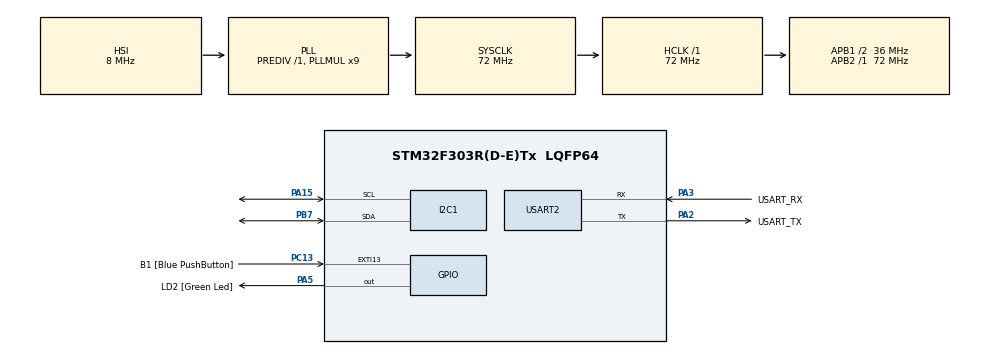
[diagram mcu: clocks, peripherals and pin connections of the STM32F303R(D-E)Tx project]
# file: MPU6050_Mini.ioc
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I2C1.Timing=0x00201D2B
Mcu.Family=STM32F3
Mcu.Name=STM32F303R(D-E)Tx
Mcu.Package=LQFP64
NVIC.PriorityGroup=NVIC_PRIORITYGROUP_0
PA13.GPIO_Label=TMS
PA13.Mode=Serial_Wire
PA13.Signal=SYS_JTMS-SWDIO
PA14.GPIO_Label=TCK
PA14.Mode=Serial_Wire
PA14.Signal=SYS_JTCK-SWCLK
PA15.Mode=I2C
PA15.Signal=I2C1_SCL
PA2.GPIO_Label=USART_TX
PA2.GPIO_Mode=GPIO_MODE_AF_PP
PA2.GPIO_PuPd=GPIO_NOPULL
PA2.GPIO_Speed=GPIO_SPEED_FREQ_LOW
PA2.Mode=Asynchronous
PA2.Signal=USART2_TX
PA3.GPIO_Label=USART_RX
PA3.GPIO_Mode=GPIO_MODE_AF_PP
PA3.GPIO_PuPd=GPIO_NOPULL
PA3.GPIO_Speed=GPIO_SPEED_FREQ_LOW
PA3.Mode=Asynchronous
PA3.Signal=USART2_RX
PA5.GPIO_Label=LD2 [Green Led]
PA5.GPIO_Mode=GPIO_MODE_OUTPUT_PP
PA5.GPIO_PuPd=GPIO_NOPULL
PA5.GPIO_Speed=GPIO_SPEED_FREQ_LOW
PA5.Signal=GPIO_Output
PB3.GPIO_Label=SWO
PB3.Signal=SYS_JTDO-TRACESWO
PB7.Mode=I2C
PB7.Signal=I2C1_SDA
PC13.GPIO_Label=B1 [Blue PushButton]
PC13.GPIO_ModeDefaultEXTI=GPIO_MODE_IT_FALLING
PC13.Signal=GPXTI13
PC14-OSC32_IN.Mode=LSE-External-Oscillator
PC14-OSC32_IN.Signal=RCC_OSC32_IN
PC15-OSC32_OUT.Mode=LSE-External-Oscillator
PC15-OSC32_OUT.Signal=RCC_OSC32_OUT
PF0-OSC_IN.Mode=HSE-External-Clock-Source
PF0-OSC_IN.Signal=RCC_OSC_IN
PF1-OSC_OUT.Signal=RCC_OSC_OUT
ProjectManager.HeapSize=0x200
ProjectManager.StackSize=0x400
ProjectManager.TargetToolchain=STM32CubeIDE
RCC.AHBFreq_Value=72000000
RCC.APB1CLKDivider=RCC_HCLK_DIV2
RCC.APB1Freq_Value=36000000
RCC.APB1TimFreq_Value=72000000
RCC.APB2Freq_Value=72000000
RCC.APB2TimFreq_Value=72000000
RCC.CortexFreq_Value=72000000
RCC.HCLKFreq_Value=72000000
RCC.HSE_VALUE=8000000
RCC.HSI_VALUE=8000000
RCC.PLLM=8
RCC.PLLMUL=RCC_PLL_MUL9
RCC.PLLN=336
RCC.PLLP=RCC_PLLP_DIV4
RCC.PLLQ=7
RCC.RCC_PLLsource_Clock_Source_FROM_HSE=RCC_HSE_PREDIV_DIV2
RCC.SYSCLKFreq_VALUE=72000000
RCC.SYSCLKSourceVirtual=RCC_SYSCLKSOURCE_PLLCLK
RCC.USBFreq_Value=72000000
USART2.VirtualMode-Asynchronous=VM_ASYNC
board=NUCLEO-F303RE

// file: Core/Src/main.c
/* USER CODE BEGIN Header */
/**
  ******************************************************************************
  * @file           : main.c
  * @brief          : Main program body
  ******************************************************************************
  * @attention
  *
  * Copyright (c) 2025 STMicroelectronics.
  * All rights reserved.
  *
  * This software is licensed under terms that can be found in the LICENSE file
  * in the root directory of this software component.
  * If no LICENSE file comes with this software, it is provided AS-IS.
  *
  ******************************************************************************
  */
/* USER CODE END Header */
#include "main.h"
#include "MPU6050.h"

/* USER CODE BEGIN PD */
#define MPU6050_ADDR (uint16_t)0x68

/* USER CODE END PD */

I2C_HandleTypeDef hi2c1;

UART_HandleTypeDef huart2;

/* USER CODE BEGIN PV */
float accel_buf[3];

float x_accel;
float y_accel;
float z_accel;

float x_vel;
float y_vel;
float z_vel;

float x_pos;
float y_pos;
float z_pos;

float dt;

/* USER CODE END PV */

void SystemClock_Config(void);
static void MX_GPIO_Init(void);
static void MX_I2C1_Init(void);
static void MX_USART2_UART_Init(void);

int main(void)
{

  /* USER CODE BEGIN 1 */
  HAL_StatusTypeDef ret;
  /* USER CODE END 1 */

  /* MCU Configuration--------------------------------------------------------*/

  /* Reset of all peripherals, Initializes the Flash interface and the Systick. */
  HAL_Init();

  /* Configure the system clock */
  SystemClock_Config();

  /* Initialize all configured peripherals */
  MX_GPIO_Init();
  MX_I2C1_Init();
  MX_USART2_UART_Init();
  /* USER CODE BEGIN 2 */

  //Hang while MPU6050 doesn't respond with HAL_OK
  while(ret != HAL_OK){
	  ret = MPU6050_init(&hi2c1, (MPU6050_ADDR<<1));
  }

  uint32_t currentTime = HAL_GetTick();
  uint32_t lastTime = HAL_GetTick();

  /* USER CODE END 2 */

  /* Infinite loop */
  /* USER CODE BEGIN WHILE */
  while (1)
  {

	 ret = MPU6050_getAccel(&hi2c1, (MPU6050_ADDR << 1), &accel_buf); //Read accelerations

	 if(ret == HAL_OK){
		 currentTime = HAL_GetTick();
		 dt = 0.001f*(currentTime - lastTime);

		 x_accel = accel_buf[0]; //Acceleration in g
		 y_accel = accel_buf[1];
		 z_accel = accel_buf[2] - .981; //Subtract gravity, assuming +z is aligned with g

		 x_vel = x_vel+(x_accel*9.81)*(dt); //Velocity in m/s
		 y_vel = y_vel+(y_accel*9.81)*(dt);
		 z_vel = z_vel+(z_accel*9.81)*(dt);

		 x_pos =  x_pos+(x_vel)*(dt); //Velocity in m/s
		 y_pos =  y_pos+(y_vel)*(dt);
		 z_pos =  z_pos+(z_vel)*(dt);

		 lastTime = HAL_GetTick();
	 }

 	 HAL_Delay(2);
    /* USER CODE END WHILE */

  }
}

void SystemClock_Config(void)
{
  RCC_OscInitTypeDef RCC_OscInitStruct = {0};
  RCC_ClkInitTypeDef RCC_ClkInitStruct = {0};
  RCC_PeriphCLKInitTypeDef PeriphClkInit = {0};

  /** Initializes the RCC Oscillators according to the specified parameters
  * in the RCC_OscInitTypeDef structure.
  */
  RCC_OscInitStruct.OscillatorType = RCC_OSCILLATORTYPE_HSI;
  RCC_OscInitStruct.HSIState = RCC_HSI_ON;
  RCC_OscInitStruct.HSICalibrationValue = RCC_HSICALIBRATION_DEFAULT;
  RCC_OscInitStruct.PLL.PLLState = RCC_PLL_ON;
  RCC_OscInitStruct.PLL.PLLSource = RCC_PLLSOURCE_HSI;
  RCC_OscInitStruct.PLL.PLLMUL = RCC_PLL_MUL9;
  RCC_OscInitStruct.PLL.PREDIV = RCC_PREDIV_DIV1;
  if (HAL_RCC_OscConfig(&RCC_OscInitStruct) != HAL_OK)
  {
    Error_Handler();
  }

  /** Initializes the CPU, AHB and APB buses clocks
  */
  RCC_ClkInitStruct.ClockType = RCC_CLOCKTYPE_HCLK|RCC_CLOCKTYPE_SYSCLK
                              |RCC_CLOCKTYPE_PCLK1|RCC_CLOCKTYPE_PCLK2;
  RCC_ClkInitStruct.SYSCLKSource = RCC_SYSCLKSOURCE_PLLCLK;
  RCC_ClkInitStruct.AHBCLKDivider = RCC_SYSCLK_DIV1;
  RCC_ClkInitStruct.APB1CLKDivider = RCC_HCLK_DIV2;
  RCC_ClkInitStruct.APB2CLKDivider = RCC_HCLK_DIV1;

  if (HAL_RCC_ClockConfig(&RCC_ClkInitStruct, FLASH_LATENCY_2) != HAL_OK)
  {
    Error_Handler();
  }
  PeriphClkInit.PeriphClockSelection = RCC_PERIPHCLK_USART2|RCC_PERIPHCLK_I2C1;
  PeriphClkInit.Usart2ClockSelection = RCC_USART2CLKSOURCE_PCLK1;
  PeriphClkInit.I2c1ClockSelection = RCC_I2C1CLKSOURCE_HSI;
  if (HAL_RCCEx_PeriphCLKConfig(&PeriphClkInit) != HAL_OK)
  {
    Error_Handler();
  }
}

static void MX_I2C1_Init(void)
{

  hi2c1.Instance = I2C1;
  hi2c1.Init.Timing = 0x00201D2B;
  hi2c1.Init.OwnAddress1 = 0;
  hi2c1.Init.AddressingMode = I2C_ADDRESSINGMODE_7BIT;
  hi2c1.Init.DualAddressMode = I2C_DUALADDRESS_DISABLE;
  hi2c1.Init.OwnAddress2 = 0;
  hi2c1.Init.OwnAddress2Masks = I2C_OA2_NOMASK;
  hi2c1.Init.GeneralCallMode = I2C_GENERALCALL_DISABLE;
  hi2c1.Init.NoStretchMode = I2C_NOSTRETCH_DISABLE;
  if (HAL_I2C_Init(&hi2c1) != HAL_OK)
  {
    Error_Handler();
  }

  /** Configure Analogue filter
  */
  if (HAL_I2CEx_ConfigAnalogFilter(&hi2c1, I2C_ANALOGFILTER_ENABLE) != HAL_OK)
  {
    Error_Handler();
  }

  /** Configure Digital filter
  */
  if (HAL_I2CEx_ConfigDigitalFilter(&hi2c1, 0) != HAL_OK)
  {
    Error_Handler();
  }

}

static void MX_USART2_UART_Init(void)
{

  huart2.Instance = USART2;
  huart2.Init.BaudRate = 38400;
  huart2.Init.WordLength = UART_WORDLENGTH_8B;
  huart2.Init.StopBits = UART_STOPBITS_1;
  huart2.Init.Parity = UART_PARITY_NONE;
  huart2.Init.Mode = UART_MODE_TX_RX;
  huart2.Init.HwFlowCtl = UART_HWCONTROL_NONE;
  huart2.Init.OverSampling = UART_OVERSAMPLING_16;
  huart2.Init.OneBitSampling = UART_ONE_BIT_SAMPLE_DISABLE;
  huart2.AdvancedInit.AdvFeatureInit = UART_ADVFEATURE_NO_INIT;
  if (HAL_UART_Init(&huart2) != HAL_OK)
  {
    Error_Handler();
  }

}

static void MX_GPIO_Init(void)
{
  GPIO_InitTypeDef GPIO_InitStruct = {0};

  /* GPIO Ports Clock Enable */
  __HAL_RCC_GPIOC_CLK_ENABLE();
  __HAL_RCC_GPIOF_CLK_ENABLE();
  __HAL_RCC_GPIOA_CLK_ENABLE();
  __HAL_RCC_GPIOB_CLK_ENABLE();

  /*Configure GPIO pin Output Level */
  HAL_GPIO_WritePin(LD2_GPIO_Port, LD2_Pin, GPIO_PIN_RESET);

  /*Configure GPIO pin : B1_Pin */
  GPIO_InitStruct.Pin = B1_Pin;
  GPIO_InitStruct.Mode = GPIO_MODE_IT_FALLING;
  GPIO_InitStruct.Pull = GPIO_NOPULL;
  HAL_GPIO_Init(B1_GPIO_Port, &GPIO_InitStruct);

  /*Configure GPIO pin : LD2_Pin */
  GPIO_InitStruct.Pin = LD2_Pin;
  GPIO_InitStruct.Mode = GPIO_MODE_OUTPUT_PP;
  GPIO_InitStruct.Pull = GPIO_NOPULL;
  GPIO_InitStruct.Speed = GPIO_SPEED_FREQ_LOW;
  HAL_GPIO_Init(LD2_GPIO_Port, &GPIO_InitStruct);

}

void Error_Handler(void)
{
  __disable_irq();
  while (1)
  {
  }
}
